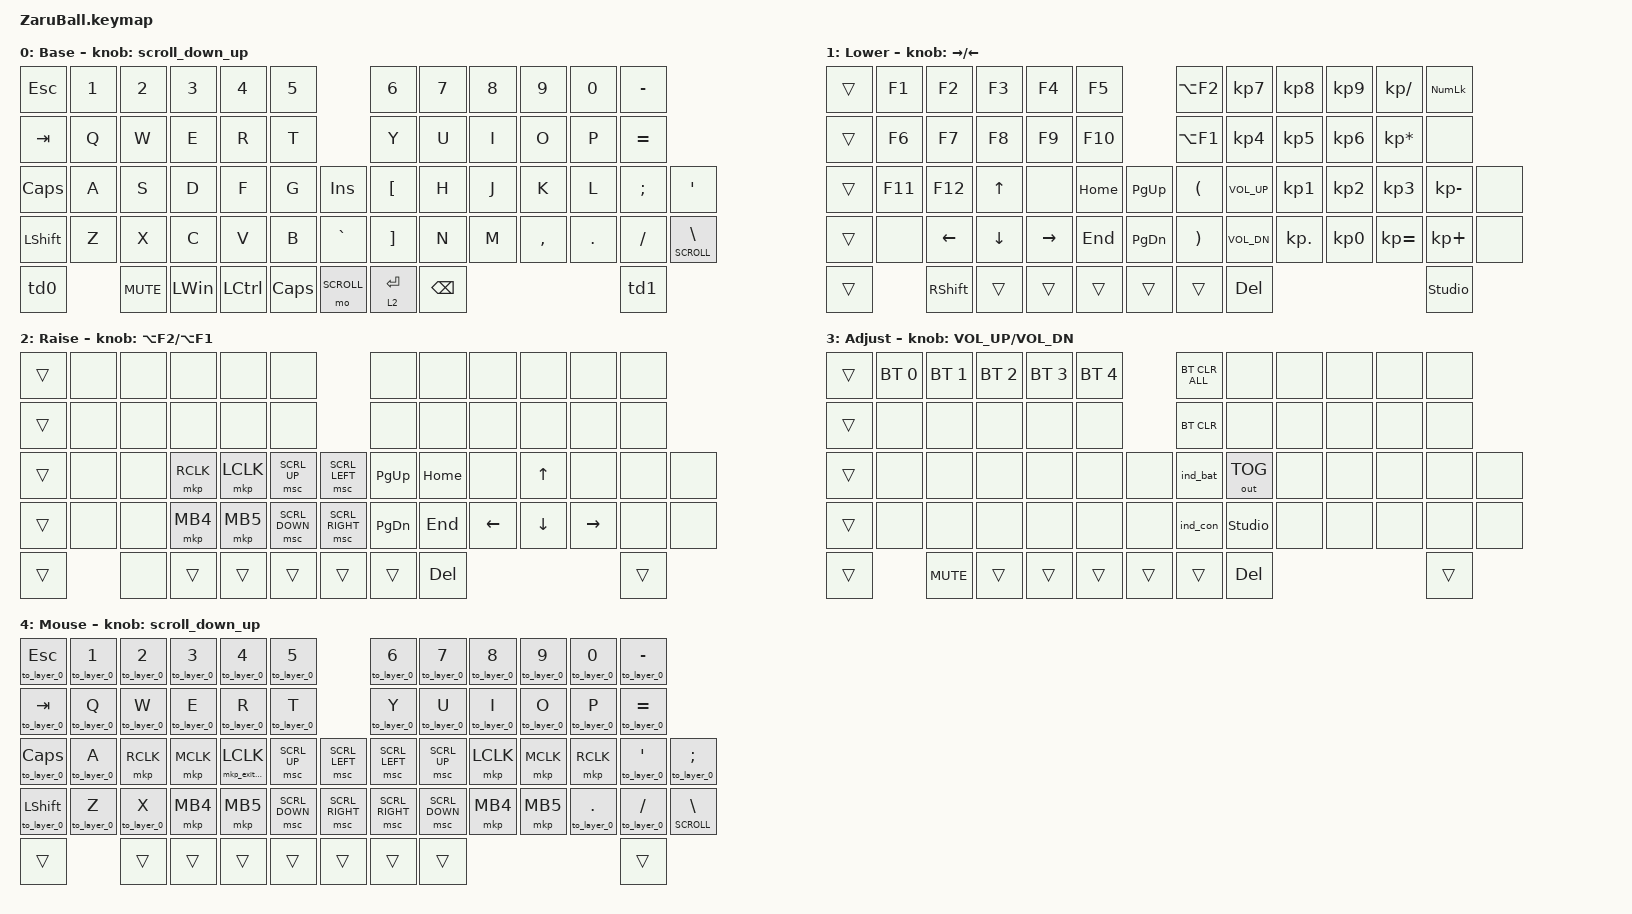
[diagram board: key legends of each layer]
// スクロール量の設定

#define ZMK_POINTING_DEFAULT_SCRL_VAL 100

#include <behaviors/rgbled_widget.dtsi>
#include <input/processors.dtsi>
#include <dt-bindings/zmk/input_transform.h>
#include <behaviors.dtsi>
#include <dt-bindings/zmk/bt.h>
#include <dt-bindings/zmk/keys.h>
#include <dt-bindings/zmk/outputs.h>
#include <dt-bindings/zmk/pointing.h>

#define BASE 0
#define LOWER 1
#define RAISE 2
#define ADJUST 3
#define MOUSE 4
#define SCROLL 1

// トラックボールの設定(AML, SCROLL)

&trackball_listener {
    input-processors = <
                        // トラックボールの向きの変更(ZaruBallv1とv2,v3ではセンサーの向きが異なるので調整してください。デフォルトではv2,v3用)
                        // &zip_xy_transform (INPUT_TRANSFORM_XY_SWAP | INPUT_TRANSFORM_Y_INVERT | INPUT_TRANSFORM_X_INVERT)
                        // &zip_xy_transform (INPUT_TRANSFORM_XY_SWAP) // ZaruBallv1用
                        &zip_temp_layer MOUSE 500 // 500ms stay at mouse layer
    >;

    scroller {
        layers = <SCROLL>;
        input-processors = <
                            // スクロールの向きの変更
                            &zip_xy_transform (INPUT_TRANSFORM_Y_INVERT)
                            &zip_xy_scaler 1 20 // スクロールの感度(default: x20)
                            &zip_xy_to_scroll_mapper
        >;
    };
};

/ {
    conditional_layers {
        compatible = "zmk,conditional-layers";

        tri_layer {
            if-layers = <1 2>;
            then-layer = <3>;
        };
    };
};

/ {
    behaviors {
        // スクロール用のbehaviorの設定

        scroll_down_up: behavior_sensor_rotate_mouse_wheel_down_up {
            compatible = "zmk,behavior-sensor-rotate";
            #sensor-binding-cells = <0>;
            bindings = <&msc SCRL_DOWN>, <&msc SCRL_UP>;

            tap-ms = <20>; // スクロールのタップ時間
        };

        td0: tap_dance_0 {
            compatible = "zmk,behavior-tap-dance";
            #binding-cells = <0>;
            tapping-term-ms = <200>;
            bindings = <&mt LALT LANG2>, <&mo RAISE>, <&mo MOUSE>;
        };

        td1: tap_dance_1 {
            compatible = "zmk,behavior-tap-dance";
            #binding-cells = <0>;
            tapping-term-ms = <200>;
            bindings = <&mt RCTL LANG1>, <&mo RAISE>, <&mo 5>;
        };
    };
};

&sl { release-after-ms = <250>; }; // time needed for double click (for mkp_exit_AML)
/ {
    macros {
        // When in AML, move to default layer when key (except mouse button) pressed

        to_layer_0: to_layer_0 {
            compatible = "zmk,behavior-macro-one-param";
            #binding-cells = <1>;
            bindings = <&to BASE &macro_param_1to1 &kp MACRO_PLACEHOLDER>;
            label = "TO_layer_0";
        };

        // When LCLK pressed, exit AML (after 250ms cause by sticky layer)

        mkp_exit_AML: mkp_exit_AML {
            compatible = "zmk,behavior-macro-one-param";
            #binding-cells = <1>;
            bindings =
                <&macro_press>,
                <&macro_param_1to1 &mkp MACRO_PLACEHOLDER>,
                <&macro_pause_for_release>,
                <&macro_release>,
                <&macro_param_1to1 &mkp MACRO_PLACEHOLDER>,
                <&macro_tap>,
                <&sl MOUSE>;

            label = "MKP_EXIT_AML";
        };
    };
};

/ {
    keymap {
        compatible = "zmk,keymap";

        base_layer {
            display-name = "Base";
            sensor-bindings = <&scroll_down_up>;
            bindings = <
&kp ESC    &kp N1  &kp N2      &kp N3    &kp N4     &kp N5                &kp NUMBER_6  &kp N7    &kp N8  &kp N9     &kp N0   &kp MINUS
&kp TAB    &kp Q   &kp W       &kp E     &kp R      &kp T                 &kp Y         &kp U     &kp I   &kp O      &kp P    &kp EQUAL
&kp CAPS   &kp A   &kp S       &kp D     &kp F      &kp G     &kp INS     &kp LBKT      &kp H     &kp J   &kp K      &kp L    &kp SEMI   &kp SQT
&kp LSHFT  &kp Z   &kp X       &kp C     &kp V      &kp B     &kp GRAVE   &kp RBKT      &kp N     &kp M   &kp COMMA  &kp DOT  &kp FSLH   &lt SCROLL BACKSLASH
&td0               &kp C_MUTE  &kp LWIN  &kp LCTRL  &kp CLCK  &mo SCROLL  &lt 2 ENTER   &kp BSPC                              &td1
            >;
        };

        lower_layer {
            display-name = "Lower";
            sensor-bindings = <&inc_dec_kp RIGHT LEFT>;
            bindings = <
&trans  &kp F1   &kp F2     &kp F3    &kp F4     &kp F5               &kp LA(F2)  &kp KP_N7     &kp KP_N8   &kp KP_N9  &kp KP_SLASH     &kp KP_NUMLOCK
&trans  &kp F6   &kp F7     &kp F8    &kp F9     &kp F10              &kp LA(F1)  &kp KP_N4     &kp KP_N5   &kp KP_N6  &kp KP_MULTIPLY  &none
&trans  &kp F11  &kp F12    &kp UP    &none      &kp HOME  &kp PG_UP  &kp LPAR    &kp C_VOL_UP  &kp KP_N1   &kp KP_N2  &kp KP_N3        &kp KP_MINUS    &none
&trans  &none    &kp LEFT   &kp DOWN  &kp RIGHT  &kp END   &kp PG_DN  &kp RPAR    &kp C_VOL_DN  &kp KP_DOT  &kp KP_N0  &kp KP_EQUAL     &kp KP_PLUS     &none
&trans           &kp RSHFT  &trans    &trans     &trans    &trans     &trans      &kp DEL                                               &studio_unlock
            >;
        };

        raise_layer {
            display-name = "Raise";
            sensor-bindings = <&inc_dec_kp LA(F2) LA(F1)>;
            bindings = <
&trans  &none  &none  &none      &none      &none                            &none      &none     &none     &none     &none      &none
&trans  &none  &none  &none      &none      &none                            &none      &none     &none     &none     &none      &none
&trans  &none  &none  &mkp RCLK  &mkp LCLK  &msc SCRL_UP    &msc SCRL_LEFT   &kp PG_UP  &kp HOME  &none     &kp UP    &none      &none   &none
&trans  &none  &none  &mkp MB4   &mkp MB5   &msc SCRL_DOWN  &msc SCRL_RIGHT  &kp PG_DN  &kp END   &kp LEFT  &kp DOWN  &kp RIGHT  &none   &none
&trans         &none  &trans     &trans     &trans          &trans           &trans     &kp DEL                                  &trans
            >;
        };

        adjust_layer {
            display-name = "Adjust";
            sensor-bindings = <&inc_dec_kp C_VOL_UP C_VOL_DN>;
            bindings = <
&trans  &bt BT_SEL 0  &bt BT_SEL 1  &bt BT_SEL 2  &bt BT_SEL 3  &bt BT_SEL 4          &bt BT_CLR_ALL  &none           &none  &none  &none  &none
&trans  &none         &none         &none         &none         &none                 &bt BT_CLR      &none           &none  &none  &none  &none
&trans  &none         &none         &none         &none         &none         &none   &ind_bat        &out OUT_TOG    &none  &none  &none  &none   &none
&trans  &none         &none         &none         &none         &none         &none   &ind_con        &studio_unlock  &none  &none  &none  &none   &none
&trans                &kp C_MUTE    &trans        &trans        &trans        &trans  &trans          &kp DEL                              &trans
            >;
        };

        mouse_layer {
            display-name = "Mouse";
            sensor-bindings = <&scroll_down_up>;
            bindings = <
&to_layer_0 ESC     &to_layer_0 N1  &to_layer_0 N2  &to_layer_0 N3  &to_layer_0 N4      &to_layer_0 N5                   &to_layer_0 N6   &to_layer_0 N7  &to_layer_0 N8  &to_layer_0 N9  &to_layer_0 N0      &to_layer_0 MINUS
&to_layer_0 TAB     &to_layer_0 Q   &to_layer_0 W   &to_layer_0 E   &to_layer_0 R       &to_layer_0 T                    &to_layer_0 Y    &to_layer_0 U   &to_layer_0 I   &to_layer_0 O   &to_layer_0 P       &to_layer_0 EQUAL
&to_layer_0 CAPS    &to_layer_0 A   &mkp RCLK       &mkp MCLK       &mkp_exit_AML LCLK  &msc SCRL_UP    &msc SCRL_LEFT   &msc SCRL_LEFT   &msc SCRL_UP    &mkp LCLK       &mkp MCLK       &mkp RCLK           &to_layer_0 SINGLE_QUOTE  &to_layer_0 SEMICOLON
&to_layer_0 LSHIFT  &to_layer_0 Z   &to_layer_0 X   &mkp MB4        &mkp MB5            &msc SCRL_DOWN  &msc SCRL_RIGHT  &msc SCRL_RIGHT  &msc SCRL_DOWN  &mkp MB4        &mkp MB5        &to_layer_0 PERIOD  &to_layer_0 SLASH         &lt SCROLL BACKSLASH
&trans                              &trans          &trans          &trans              &trans          &trans           &trans           &trans                                                              &trans
            >;
        };

        // Extra layer can be added in ZMK STUDIO

        extra1 { status = "reserved"; };

        extra2 { status = "reserved"; };
    };
};
